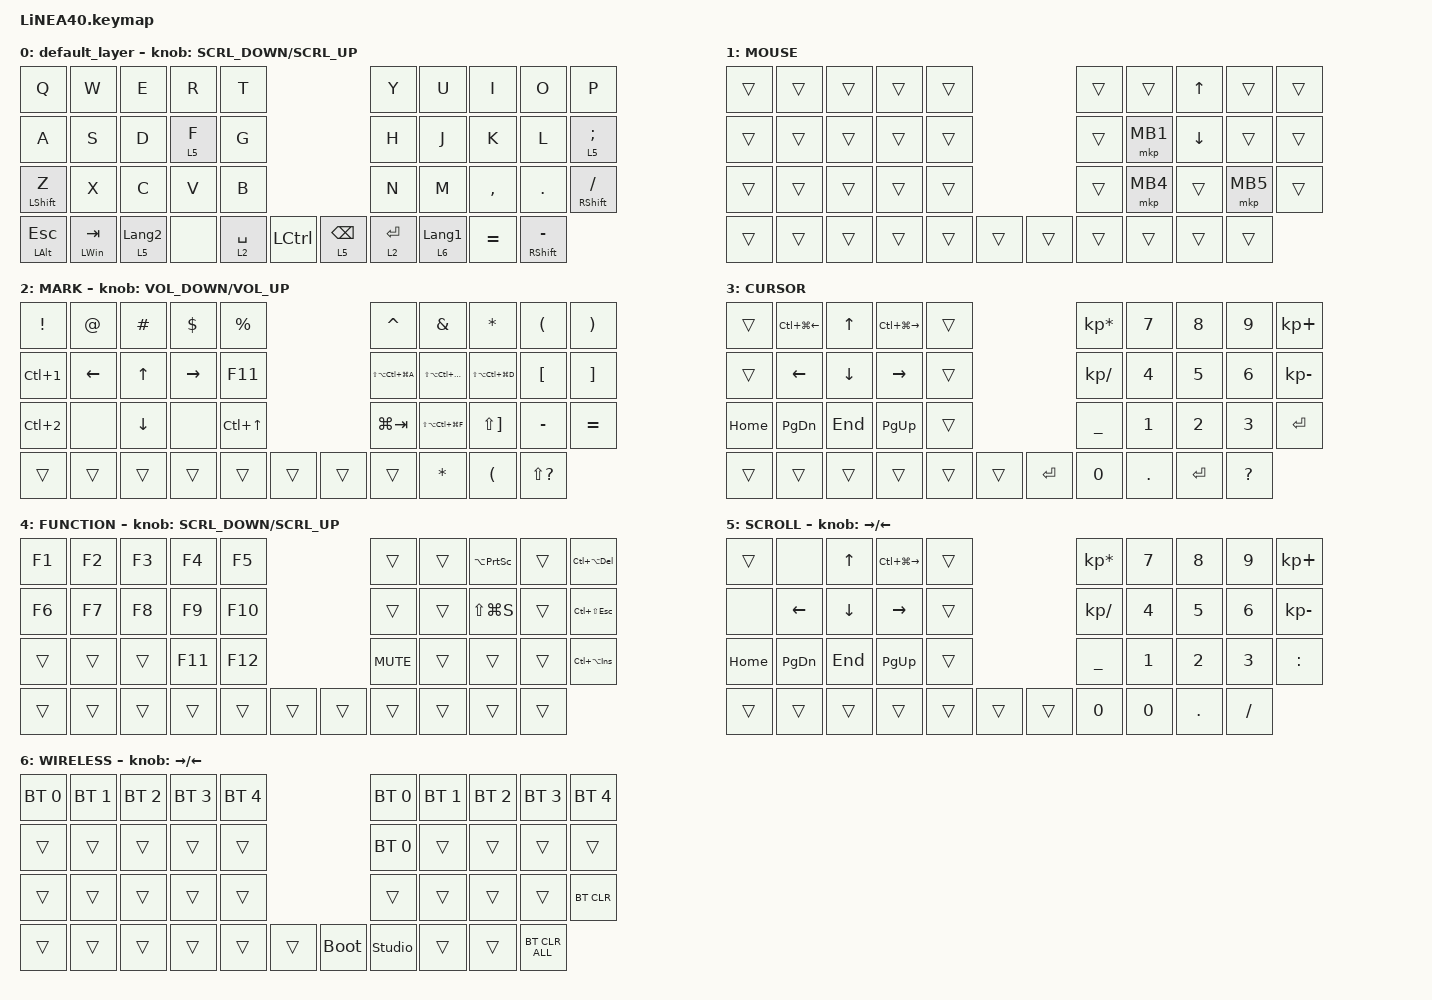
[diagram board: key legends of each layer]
#define ZMK_POINTING_DEFAULT_SCRL_VAL 150

#include <dt-bindings/zmk/input_transform.h>
#include <input/processors.dtsi>
#include <zephyr/dt-bindings/input/input-event-codes.h>
#include <behaviors.dtsi>
#include <dt-bindings/zmk/bt.h>
#include <dt-bindings/zmk/keys.h>
#include <dt-bindings/zmk/pointing.h>

#define MOUSE 1
#define MARK 2
#define CURSOR 3
#define FUNCTION 4
#define SCROLL 5
#define WIRELESS 6

//mouse cursol

&mmv {
    delay-ms = <20>;
    trigger-period-ms = <5>;
    time-to-max-speed-ms = <100>;
    acceleration-exponent = <2>;
};

//mouse scroll

&msc {
    delay-ms = <3>;
    trigger-period-ms = <3>;
    time-to-max-speed-ms = <100>;
    acceleration-exponent = <0>;
};

/ {
    input_processors {
        zip_wheel_scaler: zip_wheel_scaler {
            compatible = "zmk,input-processor-scaler";
            #input-processor-cells = <2>;
            type = <INPUT_EV_REL>;
            codes = <INPUT_REL_WHEEL>;
            track-remainders;
        };
    };
};

&msc_input_listener {
    speed_up {
        layers = <FUNCTION>;
        input-processors = <&zip_wheel_scaler 3 1>; //スクロールを3倍速にする
    };
};

&trackball_listener {
    scroller {
        layers = <SCROLL>;
        input-processors =
            <&zip_xy_transform INPUT_TRANSFORM_Y_INVERT>,
            //スクロール方向を逆転,,,,,,,,,,,,,,,,,,,,,,,,,,,,,
            <&zip_xy_to_scroll_mapper>;
    };
};

/ {
    combos {
        compatible = "zmk,combos";

        Kana {
            bindings = <&kp LANGUAGE_1>;
            key-positions = <16 17>;
        };

        DeleteKey {
            bindings = <&kp DEL>;
            key-positions = <7 8>;
        };

        RightClick {
            bindings = <&mkp MB2>;
            key-positions = <18 17>;
        };

        Eiji {
            bindings = <&kp LANGUAGE_2>;
            key-positions = <12 13>;
        };

        haifun {
            bindings = <&kp MINUS>;
            key-positions = <18 19>;
        };

        Backspace {
            bindings = <&kp BACKSPACE>;
            key-positions = <8 9>;
        };

        Tab {
            bindings = <&kp TAB>;
            key-positions = <0 1>;
        };

        Scroll_UP {
            bindings = <&kp UP>;
            key-positions = <16 7>;
        };

        Scroll_DOWN {
            bindings = <&kp DOWN>;
            key-positions = <16 27>;
        };

        program_sw {
            bindings = <&kp RG(TAB)>;
            key-positions = <16 17 18>;
        };
    };

    behaviors {
        re_kp: sensor_rotate_kp {
            compatible = "zmk,behavior-sensor-rotate-var";
            #sensor-binding-cells = <2>;
            bindings = <&kp>, <&kp>;
        };

        mouse_scrl: mouse_wheel_scrl {
            compatible = "zmk,behavior-sensor-rotate-var";
            #sensor-binding-cells = <2>;
            bindings = <&msc>, <&msc>;

            tap-ms = <20>;
        };
    };

    macros {
        new_macro: new_macro {
            compatible = "zmk,behavior-macro";
            #binding-cells = <0>;
            bindings = <&none>, <&macro_press>;

            label = "NEW_MACRO";
        };
    };

    keymap {
        compatible = "zmk,keymap";

        default_layer {
            bindings = <
&kp Q             &kp W             &kp E             &kp R    &kp T                                      &kp Y      &kp U  &kp I             &kp O      &kp P
&kp A             &kp S             &kp D             &lt 5 F  &kp G                                      &kp H      &kp J  &kp K             &kp L      &lt 5 SEMICOLON
&mt LEFT_SHIFT Z  &kp X             &kp C             &kp V    &kp B                                      &kp N      &kp M  &kp COMMA         &kp DOT    &mt RIGHT_SHIFT FSLH
&mt LEFT_ALT ESC  &mt LEFT_WIN TAB  &lt 5 LANGUAGE_2  &none    &lt 2 SPACE  &kp LCTRL    &lt 5 BACKSPACE  &lt 2 RET         &lt 6 LANGUAGE_1  &kp EQUAL  &mt RIGHT_SHIFT MINUS
            >;

            sensor-bindings = <&mouse_scrl SCRL_DOWN SCRL_UP>;
        };

        //1

        MOUSE {
            bindings = <
&trans  &trans  &trans  &trans  &trans                    &trans  &trans    &kp UP    &trans    &trans
&trans  &trans  &trans  &trans  &trans                    &trans  &mkp MB1  &kp DOWN  &trans    &trans
&trans  &trans  &trans  &trans  &trans                    &trans  &mkp MB4  &trans    &mkp MB5  &trans
&trans  &trans  &trans  &trans  &trans  &trans    &trans  &trans            &trans    &trans    &trans
            >;
        };

        //2

        MARK {
            bindings = <
&kp EXCLAMATION   &kp AT    &kp HASH  &kp DOLLAR  &kp PERCENT                    &kp CARET              &kp AMPERSAND          &kp ASTERISK           &kp LEFT_PARENTHESIS  &kp RIGHT_PARENTHESIS
&kp LC(NUMBER_1)  &kp LEFT  &kp UP    &kp RIGHT   &kp F11                        &kp LS(LA(LC(LG(A))))  &kp LS(LA(LC(LG(M))))  &kp LS(LA(LC(LG(D))))  &kp LEFT_BRACKET      &kp RIGHT_BRACKET
&kp LC(NUMBER_2)  &none     &kp DOWN  &none       &kp LC(UP)                     &kp LG(TAB)            &kp LS(LA(LC(LG(F))))  &kp LS(RIGHT_BRACKET)  &kp MINUS             &kp EQUAL
&trans            &trans    &trans    &trans      &trans       &trans    &trans  &trans                                        &kp ASTERISK           &kp LEFT_PARENTHESIS  &kp LS(QUESTION)
            >;

            sensor-bindings = <&re_kp C_VOLUME_DOWN C_VOLUME_UP>;
        };

        //3

        CURSOR {
            bindings = <
&trans    &kp LC(LG(LEFT_ARROW))  &kp UP_ARROW  &kp LC(LG(RIGHT_ARROW))  &trans                       &kp KP_MULTIPLY  &kp NUMBER_7  &kp NUMBER_8  &kp NUMBER_9  &kp KP_PLUS
&trans    &kp LEFT_ARROW          &kp DOWN      &kp RIGHT_ARROW          &trans                       &kp KP_SLASH     &kp NUMBER_4  &kp NUMBER_5  &kp NUMBER_6  &kp KP_MINUS
&kp HOME  &kp PAGE_DOWN           &kp END       &kp PAGE_UP              &trans                       &kp UNDER        &kp NUMBER_1  &kp NUMBER_2  &kp NUMBER_3  &kp ENTER
&trans    &trans                  &trans        &trans                   &trans  &trans    &kp ENTER  &kp NUMBER_0                   &kp DOT       &kp ENTER     &kp QUESTION
            >;
        };

        //4

        FUNCTION {
            bindings = <
&kp F1  &kp F2  &kp F3  &kp F4   &kp F5                     &trans      &trans  &kp LA(PRINTSCREEN)  &trans  &kp LC(LA(DELETE))
&kp F6  &kp F7  &kp F8  &kp F9   &kp F10                    &trans      &trans  &kp LS(LG(S))        &trans  &kp LC(LS(ESCAPE))
&trans  &trans  &trans  &kp F11  &kp F12                    &kp C_MUTE  &trans  &trans               &trans  &kp LC(LA(INS))
&trans  &trans  &trans  &trans   &trans   &trans    &trans  &trans              &trans               &trans  &trans
            >;

            sensor-bindings = <&mouse_scrl SCRL_DOWN SCRL_UP>;
        };

        //5

        SCROLL {
            bindings = <
&trans    &none          &kp UP    &kp LC(LG(RIGHT_ARROW))  &trans                    &kp KP_MULTIPLY  &kp NUMBER_7  &kp NUMBER_8  &kp NUMBER_9  &kp KP_PLUS
&none     &kp LEFT       &kp DOWN  &kp RIGHT                &trans                    &kp KP_SLASH     &kp NUMBER_4  &kp NUMBER_5  &kp NUMBER_6  &kp KP_MINUS
&kp HOME  &kp PAGE_DOWN  &kp END   &kp PAGE_UP              &trans                    &kp UNDER        &kp NUMBER_1  &kp NUMBER_2  &kp NUMBER_3  &kp COLON
&trans    &trans         &trans    &trans                   &trans  &trans    &trans  &kp NUMBER_0                   &kp NUMBER_0  &kp DOT       &kp SLASH
            >;

            sensor-bindings = <&inc_dec_kp RIGHT LEFT>;
        };

        //6

        WIRELESS {
            bindings = <
&bt BT_SEL 0  &bt BT_SEL 1  &bt BT_SEL 2  &bt BT_SEL 3  &bt BT_SEL 4                         &bt BT_SEL 0    &bt BT_SEL 1  &bt BT_SEL 2  &bt BT_SEL 3  &bt BT_SEL 4
&trans        &trans        &trans        &trans        &trans                               &bt BT_SEL 0    &trans        &trans        &trans        &trans
&trans        &trans        &trans        &trans        &trans                               &trans          &trans        &trans        &trans        &bt BT_CLR
&trans        &trans        &trans        &trans        &trans        &trans    &bootloader  &studio_unlock                &trans        &trans        &bt BT_CLR_ALL
            >;

            sensor-bindings = <&inc_dec_kp RIGHT_ARROW LEFT_ARROW>;
        };
    };
};
